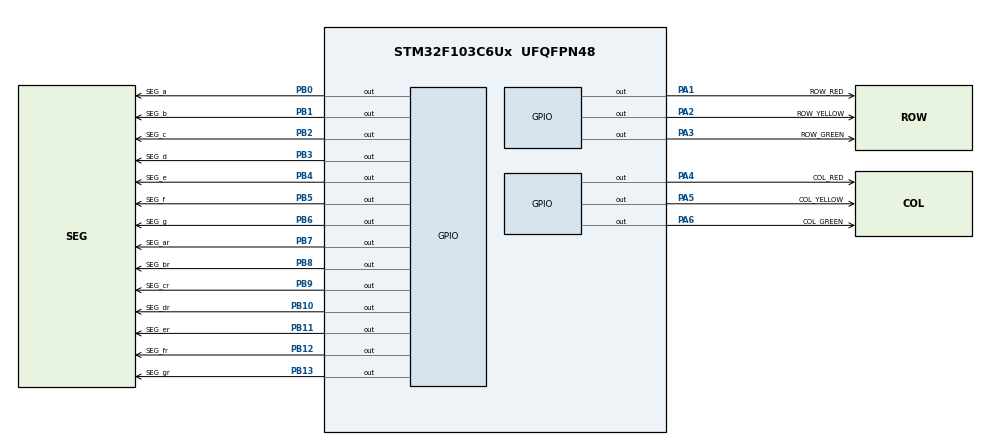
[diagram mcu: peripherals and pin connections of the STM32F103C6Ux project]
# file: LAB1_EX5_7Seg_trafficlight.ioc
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Mcu.Family=STM32F1
Mcu.Name=STM32F103C6Ux
Mcu.Package=UFQFPN48
NVIC.PriorityGroup=NVIC_PRIORITYGROUP_4
PA1.GPIO_Label=ROW_RED
PA1.Signal=GPIO_Output
PA2.GPIO_Label=ROW_YELLOW
PA2.Signal=GPIO_Output
PA3.GPIO_Label=ROW_GREEN
PA3.Signal=GPIO_Output
PA4.GPIO_Label=COL_RED
PA4.Signal=GPIO_Output
PA5.GPIO_Label=COL_YELLOW
PA5.Signal=GPIO_Output
PA6.GPIO_Label=COL_GREEN
PA6.Signal=GPIO_Output
PB0.GPIO_Label=SEG_a
PB0.Signal=GPIO_Output
PB1.GPIO_Label=SEG_b
PB1.Signal=GPIO_Output
PB10.GPIO_Label=SEG_dr
PB10.Signal=GPIO_Output
PB11.GPIO_Label=SEG_er
PB11.Signal=GPIO_Output
PB12.GPIO_Label=SEG_fr
PB12.Signal=GPIO_Output
PB13.GPIO_Label=SEG_gr
PB13.Signal=GPIO_Output
PB2.GPIO_Label=SEG_c
PB2.Signal=GPIO_Output
PB3.GPIO_Label=SEG_d
PB3.Signal=GPIO_Output
PB4.GPIO_Label=SEG_e
PB4.Signal=GPIO_Output
PB5.GPIO_Label=SEG_f
PB5.Signal=GPIO_Output
PB6.GPIO_Label=SEG_g
PB6.Signal=GPIO_Output
PB7.GPIO_Label=SEG_ar
PB7.Signal=GPIO_Output
PB8.GPIO_Label=SEG_br
PB8.Signal=GPIO_Output
PB9.GPIO_Label=SEG_cr
PB9.Signal=GPIO_Output
ProjectManager.HeapSize=0x200
ProjectManager.StackSize=0x400
ProjectManager.TargetToolchain=STM32CubeIDE
RCC.APB1Freq_Value=8000000
RCC.APB2Freq_Value=8000000
VP_SYS_VS_ND.Mode=No_Debug
board=custom

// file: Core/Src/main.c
/* USER CODE BEGIN Header */
/**
  ******************************************************************************
  * @file           : main.c
  * @brief          : Main program body
  ******************************************************************************
  * @attention
  *
  * <h2><center>&copy; Copyright (c) 2022 STMicroelectronics.
  * All rights reserved.</center></h2>
  *
  * This software component is licensed by ST under BSD 3-Clause license,
  * the "License"; You may not use this file except in compliance with the
  * License. You may obtain a copy of the License at:
  *                        opensource.org/licenses/BSD-3-Clause
  *
  ******************************************************************************
  */
/* USER CODE END Header */
#include "main.h"

void SystemClock_Config(void);
static void MX_GPIO_Init(void);

/* USER CODE BEGIN 0 */
void display7SEGRow(int num){
	  if(num == 0){
		  HAL_GPIO_WritePin(SEG_ar_GPIO_Port, SEG_ar_Pin, RESET);
		  HAL_GPIO_WritePin(SEG_br_GPIO_Port, SEG_br_Pin, RESET);
		  HAL_GPIO_WritePin(SEG_cr_GPIO_Port, SEG_cr_Pin, RESET);
		  HAL_GPIO_WritePin(SEG_dr_GPIO_Port, SEG_dr_Pin, RESET);
		  HAL_GPIO_WritePin(SEG_er_GPIO_Port, SEG_er_Pin, RESET);
		  HAL_GPIO_WritePin(SEG_fr_GPIO_Port, SEG_fr_Pin, RESET);
		  HAL_GPIO_WritePin(SEG_gr_GPIO_Port, SEG_gr_Pin, SET);
	  }
	  if(num == 1){
		  HAL_GPIO_WritePin(SEG_ar_GPIO_Port, SEG_ar_Pin, SET);
		  HAL_GPIO_WritePin(SEG_br_GPIO_Port, SEG_br_Pin, RESET);
		  HAL_GPIO_WritePin(SEG_cr_GPIO_Port, SEG_cr_Pin, RESET);
		  HAL_GPIO_WritePin(SEG_dr_GPIO_Port, SEG_dr_Pin, SET);
		  HAL_GPIO_WritePin(SEG_er_GPIO_Port, SEG_er_Pin, SET);
		  HAL_GPIO_WritePin(SEG_fr_GPIO_Port, SEG_fr_Pin, SET);
		  HAL_GPIO_WritePin(SEG_gr_GPIO_Port, SEG_gr_Pin, SET);
	  }
	  if(num == 2){
		  HAL_GPIO_WritePin(SEG_ar_GPIO_Port, SEG_ar_Pin, RESET);
		  HAL_GPIO_WritePin(SEG_br_GPIO_Port, SEG_br_Pin, RESET);
		  HAL_GPIO_WritePin(SEG_cr_GPIO_Port, SEG_cr_Pin, SET);
		  HAL_GPIO_WritePin(SEG_dr_GPIO_Port, SEG_dr_Pin, RESET);
		  HAL_GPIO_WritePin(SEG_er_GPIO_Port, SEG_er_Pin, RESET);
		  HAL_GPIO_WritePin(SEG_fr_GPIO_Port, SEG_fr_Pin, SET);
		  HAL_GPIO_WritePin(SEG_gr_GPIO_Port, SEG_gr_Pin, RESET);
	  }
	  if(num == 3){
		  HAL_GPIO_WritePin(SEG_ar_GPIO_Port, SEG_ar_Pin, RESET);
		  HAL_GPIO_WritePin(SEG_br_GPIO_Port, SEG_br_Pin, RESET);
		  HAL_GPIO_WritePin(SEG_cr_GPIO_Port, SEG_cr_Pin, RESET);
		  HAL_GPIO_WritePin(SEG_dr_GPIO_Port, SEG_dr_Pin, RESET);
		  HAL_GPIO_WritePin(SEG_er_GPIO_Port, SEG_er_Pin, SET);
		  HAL_GPIO_WritePin(SEG_fr_GPIO_Port, SEG_fr_Pin, SET);
		  HAL_GPIO_WritePin(SEG_gr_GPIO_Port, SEG_gr_Pin, RESET);
	  }
	  if(num == 4){
		  HAL_GPIO_WritePin(SEG_ar_GPIO_Port, SEG_ar_Pin, SET);
		  HAL_GPIO_WritePin(SEG_br_GPIO_Port, SEG_br_Pin, RESET);
		  HAL_GPIO_WritePin(SEG_cr_GPIO_Port, SEG_cr_Pin, RESET);
		  HAL_GPIO_WritePin(SEG_dr_GPIO_Port, SEG_dr_Pin, SET);
		  HAL_GPIO_WritePin(SEG_er_GPIO_Port, SEG_er_Pin, SET);
		  HAL_GPIO_WritePin(SEG_fr_GPIO_Port, SEG_fr_Pin, RESET);
		  HAL_GPIO_WritePin(SEG_gr_GPIO_Port, SEG_gr_Pin, RESET);
	  }
	  if(num == 5){
		  HAL_GPIO_WritePin(SEG_ar_GPIO_Port, SEG_ar_Pin, RESET);
		  HAL_GPIO_WritePin(SEG_br_GPIO_Port, SEG_br_Pin, SET);
		  HAL_GPIO_WritePin(SEG_cr_GPIO_Port, SEG_cr_Pin, RESET);
		  HAL_GPIO_WritePin(SEG_dr_GPIO_Port, SEG_dr_Pin, RESET);
		  HAL_GPIO_WritePin(SEG_er_GPIO_Port, SEG_er_Pin, SET);
		  HAL_GPIO_WritePin(SEG_fr_GPIO_Port, SEG_fr_Pin, RESET);
		  HAL_GPIO_WritePin(SEG_gr_GPIO_Port, SEG_gr_Pin, RESET);
	  }
	  if(num == 6){
		  HAL_GPIO_WritePin(SEG_ar_GPIO_Port, SEG_ar_Pin, RESET);
		  HAL_GPIO_WritePin(SEG_br_GPIO_Port, SEG_br_Pin, SET);
		  HAL_GPIO_WritePin(SEG_cr_GPIO_Port, SEG_cr_Pin, RESET);
		  HAL_GPIO_WritePin(SEG_dr_GPIO_Port, SEG_dr_Pin, RESET);
		  HAL_GPIO_WritePin(SEG_er_GPIO_Port, SEG_er_Pin, RESET);
		  HAL_GPIO_WritePin(SEG_fr_GPIO_Port, SEG_fr_Pin, RESET);
		  HAL_GPIO_WritePin(SEG_gr_GPIO_Port, SEG_gr_Pin, RESET);
	  }
	  if(num == 7){
		  HAL_GPIO_WritePin(SEG_ar_GPIO_Port, SEG_ar_Pin, RESET);
		  HAL_GPIO_WritePin(SEG_br_GPIO_Port, SEG_br_Pin, RESET);
		  HAL_GPIO_WritePin(SEG_cr_GPIO_Port, SEG_cr_Pin, RESET);
		  HAL_GPIO_WritePin(SEG_dr_GPIO_Port, SEG_dr_Pin, SET);
		  HAL_GPIO_WritePin(SEG_er_GPIO_Port, SEG_er_Pin, SET);
		  HAL_GPIO_WritePin(SEG_fr_GPIO_Port, SEG_fr_Pin, SET);
		  HAL_GPIO_WritePin(SEG_gr_GPIO_Port, SEG_gr_Pin, SET);
	  }
	  if(num == 8){
		  HAL_GPIO_WritePin(SEG_ar_GPIO_Port, SEG_ar_Pin, RESET);
		  HAL_GPIO_WritePin(SEG_br_GPIO_Port, SEG_br_Pin, RESET);
		  HAL_GPIO_WritePin(SEG_cr_GPIO_Port, SEG_cr_Pin, RESET);
		  HAL_GPIO_WritePin(SEG_dr_GPIO_Port, SEG_dr_Pin, RESET);
		  HAL_GPIO_WritePin(SEG_er_GPIO_Port, SEG_er_Pin, RESET);
		  HAL_GPIO_WritePin(SEG_fr_GPIO_Port, SEG_fr_Pin, RESET);
		  HAL_GPIO_WritePin(SEG_gr_GPIO_Port, SEG_gr_Pin, RESET);
	  }
	  if(num == 9){
		  HAL_GPIO_WritePin(SEG_ar_GPIO_Port, SEG_ar_Pin, RESET);
		  HAL_GPIO_WritePin(SEG_br_GPIO_Port, SEG_br_Pin, RESET);
		  HAL_GPIO_WritePin(SEG_cr_GPIO_Port, SEG_cr_Pin, RESET);
		  HAL_GPIO_WritePin(SEG_dr_GPIO_Port, SEG_dr_Pin, RESET);
		  HAL_GPIO_WritePin(SEG_er_GPIO_Port, SEG_er_Pin, SET);
		  HAL_GPIO_WritePin(SEG_fr_GPIO_Port, SEG_fr_Pin, RESET);
		  HAL_GPIO_WritePin(SEG_gr_GPIO_Port, SEG_gr_Pin, RESET);
	  }
}
void display7SEGCol(int num){
	  if(num == 0){
		  HAL_GPIO_WritePin(SEG_a_GPIO_Port, SEG_a_Pin, RESET);
		  HAL_GPIO_WritePin(SEG_b_GPIO_Port, SEG_b_Pin, RESET);
		  HAL_GPIO_WritePin(SEG_c_GPIO_Port, SEG_c_Pin, RESET);
		  HAL_GPIO_WritePin(SEG_d_GPIO_Port, SEG_d_Pin, RESET);
		  HAL_GPIO_WritePin(SEG_e_GPIO_Port, SEG_e_Pin, RESET);
		  HAL_GPIO_WritePin(SEG_f_GPIO_Port, SEG_f_Pin, RESET);
		  HAL_GPIO_WritePin(SEG_g_GPIO_Port, SEG_g_Pin, SET);
	  }
	  if(num == 1){
		  HAL_GPIO_WritePin(SEG_a_GPIO_Port, SEG_a_Pin, SET);
		  HAL_GPIO_WritePin(SEG_b_GPIO_Port, SEG_b_Pin, RESET);
		  HAL_GPIO_WritePin(SEG_c_GPIO_Port, SEG_c_Pin, RESET);
		  HAL_GPIO_WritePin(SEG_d_GPIO_Port, SEG_d_Pin, SET);
		  HAL_GPIO_WritePin(SEG_e_GPIO_Port, SEG_e_Pin, SET);
		  HAL_GPIO_WritePin(SEG_f_GPIO_Port, SEG_f_Pin, SET);
		  HAL_GPIO_WritePin(SEG_g_GPIO_Port, SEG_g_Pin, SET);
	  }
	  if(num == 2){
		  HAL_GPIO_WritePin(SEG_a_GPIO_Port, SEG_a_Pin, RESET);
		  HAL_GPIO_WritePin(SEG_b_GPIO_Port, SEG_b_Pin, RESET);
		  HAL_GPIO_WritePin(SEG_c_GPIO_Port, SEG_c_Pin, SET);
		  HAL_GPIO_WritePin(SEG_d_GPIO_Port, SEG_d_Pin, RESET);
		  HAL_GPIO_WritePin(SEG_e_GPIO_Port, SEG_e_Pin, RESET);
		  HAL_GPIO_WritePin(SEG_f_GPIO_Port, SEG_f_Pin, SET);
		  HAL_GPIO_WritePin(SEG_g_GPIO_Port, SEG_g_Pin, RESET);
	  }
	  if(num == 3){
		  HAL_GPIO_WritePin(SEG_a_GPIO_Port, SEG_a_Pin, RESET);
		  HAL_GPIO_WritePin(SEG_b_GPIO_Port, SEG_b_Pin, RESET);
		  HAL_GPIO_WritePin(SEG_c_GPIO_Port, SEG_c_Pin, RESET);
		  HAL_GPIO_WritePin(SEG_d_GPIO_Port, SEG_d_Pin, RESET);
		  HAL_GPIO_WritePin(SEG_e_GPIO_Port, SEG_e_Pin, SET);
		  HAL_GPIO_WritePin(SEG_f_GPIO_Port, SEG_f_Pin, SET);
		  HAL_GPIO_WritePin(SEG_g_GPIO_Port, SEG_g_Pin, RESET);
	  }
	  if(num == 4){
		  HAL_GPIO_WritePin(SEG_a_GPIO_Port, SEG_a_Pin, SET);
		  HAL_GPIO_WritePin(SEG_b_GPIO_Port, SEG_b_Pin, RESET);
		  HAL_GPIO_WritePin(SEG_c_GPIO_Port, SEG_c_Pin, RESET);
		  HAL_GPIO_WritePin(SEG_d_GPIO_Port, SEG_d_Pin, SET);
		  HAL_GPIO_WritePin(SEG_e_GPIO_Port, SEG_e_Pin, SET);
		  HAL_GPIO_WritePin(SEG_f_GPIO_Port, SEG_f_Pin, RESET);
		  HAL_GPIO_WritePin(SEG_g_GPIO_Port, SEG_g_Pin, RESET);
	  }
	  if(num == 5){
		  HAL_GPIO_WritePin(SEG_a_GPIO_Port, SEG_a_Pin, RESET);
		  HAL_GPIO_WritePin(SEG_b_GPIO_Port, SEG_b_Pin, SET);
		  HAL_GPIO_WritePin(SEG_c_GPIO_Port, SEG_c_Pin, RESET);
		  HAL_GPIO_WritePin(SEG_d_GPIO_Port, SEG_d_Pin, RESET);
		  HAL_GPIO_WritePin(SEG_e_GPIO_Port, SEG_e_Pin, SET);
		  HAL_GPIO_WritePin(SEG_f_GPIO_Port, SEG_f_Pin, RESET);
		  HAL_GPIO_WritePin(SEG_g_GPIO_Port, SEG_g_Pin, RESET);
	  }
	  if(num == 6){
		  HAL_GPIO_WritePin(SEG_a_GPIO_Port, SEG_a_Pin, RESET);
		  HAL_GPIO_WritePin(SEG_b_GPIO_Port, SEG_b_Pin, SET);
		  HAL_GPIO_WritePin(SEG_c_GPIO_Port, SEG_c_Pin, RESET);
		  HAL_GPIO_WritePin(SEG_d_GPIO_Port, SEG_d_Pin, RESET);
		  HAL_GPIO_WritePin(SEG_e_GPIO_Port, SEG_e_Pin, RESET);
		  HAL_GPIO_WritePin(SEG_f_GPIO_Port, SEG_f_Pin, RESET);
		  HAL_GPIO_WritePin(SEG_g_GPIO_Port, SEG_g_Pin, RESET);
	  }
	  if(num == 7){
		  HAL_GPIO_WritePin(SEG_a_GPIO_Port, SEG_a_Pin, RESET);
		  HAL_GPIO_WritePin(SEG_b_GPIO_Port, SEG_b_Pin, RESET);
		  HAL_GPIO_WritePin(SEG_c_GPIO_Port, SEG_c_Pin, RESET);
		  HAL_GPIO_WritePin(SEG_d_GPIO_Port, SEG_d_Pin, SET);
		  HAL_GPIO_WritePin(SEG_e_GPIO_Port, SEG_e_Pin, SET);
		  HAL_GPIO_WritePin(SEG_f_GPIO_Port, SEG_f_Pin, SET);
		  HAL_GPIO_WritePin(SEG_g_GPIO_Port, SEG_g_Pin, SET);
	  }
	  if(num == 8){
		  HAL_GPIO_WritePin(SEG_a_GPIO_Port, SEG_a_Pin, RESET);
		  HAL_GPIO_WritePin(SEG_b_GPIO_Port, SEG_b_Pin, RESET);
		  HAL_GPIO_WritePin(SEG_c_GPIO_Port, SEG_c_Pin, RESET);
		  HAL_GPIO_WritePin(SEG_d_GPIO_Port, SEG_d_Pin, RESET);
		  HAL_GPIO_WritePin(SEG_e_GPIO_Port, SEG_e_Pin, RESET);
		  HAL_GPIO_WritePin(SEG_f_GPIO_Port, SEG_f_Pin, RESET);
		  HAL_GPIO_WritePin(SEG_g_GPIO_Port, SEG_g_Pin, RESET);
	  }
	  if(num == 9){
		  HAL_GPIO_WritePin(SEG_a_GPIO_Port, SEG_a_Pin, RESET);
		  HAL_GPIO_WritePin(SEG_b_GPIO_Port, SEG_b_Pin, RESET);
		  HAL_GPIO_WritePin(SEG_c_GPIO_Port, SEG_c_Pin, RESET);
		  HAL_GPIO_WritePin(SEG_d_GPIO_Port, SEG_d_Pin, RESET);
		  HAL_GPIO_WritePin(SEG_e_GPIO_Port, SEG_e_Pin, SET);
		  HAL_GPIO_WritePin(SEG_f_GPIO_Port, SEG_f_Pin, RESET);
		  HAL_GPIO_WritePin(SEG_g_GPIO_Port, SEG_g_Pin, RESET);
	  }
  }
/* USER CODE END 0 */

int main(void)
{

  /* MCU Configuration--------------------------------------------------------*/

  /* Reset of all peripherals, Initializes the Flash interface and the Systick. */
  HAL_Init();

  /* Configure the system clock */
  SystemClock_Config();

  /* Initialize all configured peripherals */
  MX_GPIO_Init();

  /* Infinite loop */
  /* USER CODE BEGIN WHILE */

	  /*
	   * Col state:      Red -         Green - Yellow
	   * Row state: Green - Yellow -         Red
	   * 1: Red
	   * 2: Green
	   * 3: Yellow
	   */
    int RedTime = 5;
    int GreenTime = 3;
    int YellowTime = 2;
    int rowState = 2;
    int colState = 1;
    int curTimeRow = GreenTime-1;
    int curTimeCol = RedTime-1;
    while (1)
    {

  	  /* Set State and Time for Row and Col Traffic Lights */
    	if(curTimeRow <= -1){
    		rowState++;
    		if(rowState >= 4) rowState = 1;
    		if(rowState == 1) curTimeRow = RedTime-1;
    		if(rowState == 2) curTimeRow = GreenTime-1;
    		if(rowState == 3) curTimeRow = YellowTime-1;
    	}
    	if(curTimeCol <= -1){
    		colState++;
    		if(colState >= 4) colState = 1;
    		if(colState == 1) curTimeCol = RedTime-1;
    		if(colState == 2) curTimeCol = GreenTime-1;
    		if(colState == 3) curTimeCol = YellowTime-1;

    	}

    	/* Set state for led */
    	if(rowState == 1){
    		  HAL_GPIO_WritePin(ROW_RED_GPIO_Port, ROW_RED_Pin, RESET);
    		  HAL_GPIO_WritePin(ROW_YELLOW_GPIO_Port, ROW_YELLOW_Pin, SET);
    		  HAL_GPIO_WritePin(ROW_GREEN_GPIO_Port, ROW_GREEN_Pin, SET);
    	}
    	if(rowState == 2){
    		  HAL_GPIO_WritePin(ROW_RED_GPIO_Port, ROW_RED_Pin, SET);
    		  HAL_GPIO_WritePin(ROW_YELLOW_GPIO_Port, ROW_YELLOW_Pin, SET);
    		  HAL_GPIO_WritePin(ROW_GREEN_GPIO_Port, ROW_GREEN_Pin, RESET);
    	}
    	if(rowState == 3){
    		  HAL_GPIO_WritePin(ROW_RED_GPIO_Port, ROW_RED_Pin, SET);
    		  HAL_GPIO_WritePin(ROW_YELLOW_GPIO_Port, ROW_YELLOW_Pin, RESET);
    		  HAL_GPIO_WritePin(ROW_GREEN_GPIO_Port, ROW_GREEN_Pin, SET);
    	}
    	if(colState == 1){
    		  HAL_GPIO_WritePin(COL_RED_GPIO_Port, COL_RED_Pin, RESET);
    		  HAL_GPIO_WritePin(COL_YELLOW_GPIO_Port, COL_YELLOW_Pin, SET);
    		  HAL_GPIO_WritePin(COL_GREEN_GPIO_Port, COL_GREEN_Pin, SET);
    	}
    	if(colState == 2){
    		  HAL_GPIO_WritePin(COL_RED_GPIO_Port, COL_RED_Pin, SET);
    		  HAL_GPIO_WritePin(COL_YELLOW_GPIO_Port, COL_YELLOW_Pin, SET);
    		  HAL_GPIO_WritePin(COL_GREEN_GPIO_Port, COL_GREEN_Pin, RESET);
    	}
    	if(colState == 3){
    		  HAL_GPIO_WritePin(COL_RED_GPIO_Port, COL_RED_Pin, SET);
    		  HAL_GPIO_WritePin(COL_YELLOW_GPIO_Port, COL_YELLOW_Pin, RESET);
    		  HAL_GPIO_WritePin(COL_GREEN_GPIO_Port, COL_GREEN_Pin, SET);
    	}

    	/* Display on 7-Segment Leds */
		  display7SEGRow(curTimeRow--);
		  display7SEGCol(curTimeCol--);
		  HAL_Delay(1000);

    /* USER CODE END WHILE */

  }
}

void SystemClock_Config(void)
{
  RCC_OscInitTypeDef RCC_OscInitStruct = {0};
  RCC_ClkInitTypeDef RCC_ClkInitStruct = {0};

  /** Initializes the RCC Oscillators according to the specified parameters
  * in the RCC_OscInitTypeDef structure.
  */
  RCC_OscInitStruct.OscillatorType = RCC_OSCILLATORTYPE_HSI;
  RCC_OscInitStruct.HSIState = RCC_HSI_ON;
  RCC_OscInitStruct.HSICalibrationValue = RCC_HSICALIBRATION_DEFAULT;
  RCC_OscInitStruct.PLL.PLLState = RCC_PLL_NONE;
  if (HAL_RCC_OscConfig(&RCC_OscInitStruct) != HAL_OK)
  {
    Error_Handler();
  }
  /** Initializes the CPU, AHB and APB buses clocks
  */
  RCC_ClkInitStruct.ClockType = RCC_CLOCKTYPE_HCLK|RCC_CLOCKTYPE_SYSCLK
                              |RCC_CLOCKTYPE_PCLK1|RCC_CLOCKTYPE_PCLK2;
  RCC_ClkInitStruct.SYSCLKSource = RCC_SYSCLKSOURCE_HSI;
  RCC_ClkInitStruct.AHBCLKDivider = RCC_SYSCLK_DIV1;
  RCC_ClkInitStruct.APB1CLKDivider = RCC_HCLK_DIV1;
  RCC_ClkInitStruct.APB2CLKDivider = RCC_HCLK_DIV1;

  if (HAL_RCC_ClockConfig(&RCC_ClkInitStruct, FLASH_LATENCY_0) != HAL_OK)
  {
    Error_Handler();
  }
}

static void MX_GPIO_Init(void)
{
  GPIO_InitTypeDef GPIO_InitStruct = {0};

  /* GPIO Ports Clock Enable */
  __HAL_RCC_GPIOA_CLK_ENABLE();
  __HAL_RCC_GPIOB_CLK_ENABLE();

  /*Configure GPIO pin Output Level */
  HAL_GPIO_WritePin(GPIOA, ROW_RED_Pin|ROW_YELLOW_Pin|ROW_GREEN_Pin|COL_RED_Pin
                          |COL_YELLOW_Pin|COL_GREEN_Pin, GPIO_PIN_RESET);

  /*Configure GPIO pin Output Level */
  HAL_GPIO_WritePin(GPIOB, SEG_a_Pin|SEG_b_Pin|SEG_c_Pin|SEG_dr_Pin
                          |SEG_er_Pin|SEG_fr_Pin|SEG_gr_Pin|SEG_d_Pin
                          |SEG_e_Pin|SEG_f_Pin|SEG_g_Pin|SEG_ar_Pin
                          |SEG_br_Pin|SEG_cr_Pin, GPIO_PIN_RESET);

  /*Configure GPIO pins : ROW_RED_Pin ROW_YELLOW_Pin ROW_GREEN_Pin COL_RED_Pin
                           COL_YELLOW_Pin COL_GREEN_Pin */
  GPIO_InitStruct.Pin = ROW_RED_Pin|ROW_YELLOW_Pin|ROW_GREEN_Pin|COL_RED_Pin
                          |COL_YELLOW_Pin|COL_GREEN_Pin;
  GPIO_InitStruct.Mode = GPIO_MODE_OUTPUT_PP;
  GPIO_InitStruct.Pull = GPIO_NOPULL;
  GPIO_InitStruct.Speed = GPIO_SPEED_FREQ_LOW;
  HAL_GPIO_Init(GPIOA, &GPIO_InitStruct);

  /*Configure GPIO pins : SEG_a_Pin SEG_b_Pin SEG_c_Pin SEG_dr_Pin
                           SEG_er_Pin SEG_fr_Pin SEG_gr_Pin SEG_d_Pin
                           SEG_e_Pin SEG_f_Pin SEG_g_Pin SEG_ar_Pin
                           SEG_br_Pin SEG_cr_Pin */
  GPIO_InitStruct.Pin = SEG_a_Pin|SEG_b_Pin|SEG_c_Pin|SEG_dr_Pin
                          |SEG_er_Pin|SEG_fr_Pin|SEG_gr_Pin|SEG_d_Pin
                          |SEG_e_Pin|SEG_f_Pin|SEG_g_Pin|SEG_ar_Pin
                          |SEG_br_Pin|SEG_cr_Pin;
  GPIO_InitStruct.Mode = GPIO_MODE_OUTPUT_PP;
  GPIO_InitStruct.Pull = GPIO_NOPULL;
  GPIO_InitStruct.Speed = GPIO_SPEED_FREQ_LOW;
  HAL_GPIO_Init(GPIOB, &GPIO_InitStruct);

}

void Error_Handler(void)
{
  __disable_irq();
  while (1)
  {
  }
}

/************************ (C) COPYRIGHT STMicroelectronics *****END OF FILE****/
